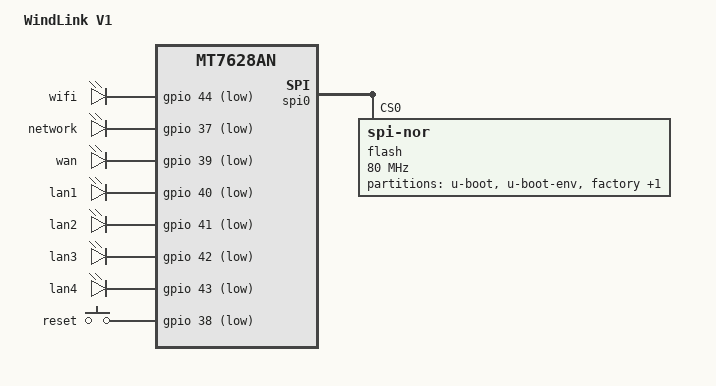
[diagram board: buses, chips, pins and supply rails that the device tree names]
#include "mt7628an_hiwifi_hc5x61a.dtsi"

/ {
	compatible = "windlink,v1", "mediatek,mt7628an-soc";
	model = "WindLink V1";


	leds {
		compatible = "gpio-leds";

		wifi {
			label = "wifi";
			gpios = <&gpio 44 GPIO_ACTIVE_LOW>;
		};

		network {
			label = "network";
			gpios = <&gpio 37 GPIO_ACTIVE_LOW>;
		};

		wan {
			label = "wan";
			gpios = <&gpio 39 GPIO_ACTIVE_LOW>;
		};

		lan1 {
			label = "lan1";
			gpios = <&gpio 40 GPIO_ACTIVE_LOW>;
		};

		lan2 {
			label = "lan2";
			gpios = <&gpio 41 GPIO_ACTIVE_LOW>;
		};

		lan3 {
			label = "lan3";
			gpios = <&gpio 42 GPIO_ACTIVE_LOW>;
		};

		lan4 {
			label = "lan4";
			gpios = <&gpio 43 GPIO_ACTIVE_LOW>;
		};

	};

	keys {
		compatible = "gpio-keys";

		reset {
			label = "reset";
			gpios = <&gpio 38 GPIO_ACTIVE_LOW>;
			linux,code = <KEY_RESTART>;
		};
	};
};

&state_default {
	gpio {
		groups = "wdt", "wled_an", "refclk", "p4led_an", "p3led_an", "p2led_an", "p1led_an", "p0led_an";
		function = "gpio";
	};
};

&spi0 {
	status = "okay";

	flash@0 {
		compatible = "jedec,spi-nor";
		reg = <0>;
		spi-max-frequency = <80000000>;
		m25p,fast-read;

		partitions {
			compatible = "fixed-partitions";
			#address-cells = <1>;
			#size-cells = <1>;

			partition@0 {
				label = "u-boot";
				reg = <0x0 0x30000>;
				read-only;
			};

			partition@30000 {
				label = "u-boot-env";
				reg = <0x30000 0x10000>;
				read-only;
			};

			factory: partition@40000 {
				label = "factory";
				reg = <0x40000 0x10000>;
				read-only;
			};

			partition@50000 {
				compatible = "denx,uimage";
				label = "firmware";
				reg = <0x50000 0xFB0000>;
			};
		};
	};
};

&ehci {
	status = "disabled";
};

&ohci {
	status = "disabled";
};
